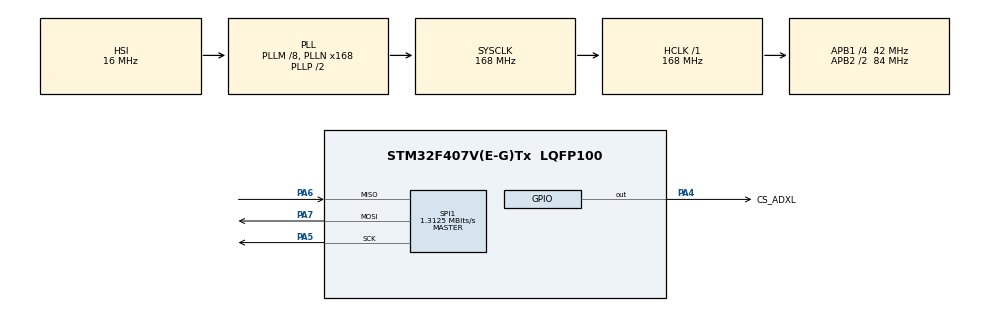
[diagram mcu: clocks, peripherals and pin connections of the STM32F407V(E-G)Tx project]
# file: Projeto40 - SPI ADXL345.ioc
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Mcu.Family=STM32F4
Mcu.Name=STM32F407V(E-G)Tx
Mcu.Package=LQFP100
NVIC.PriorityGroup=NVIC_PRIORITYGROUP_4
PA4.GPIO_Label=CS_ADXL
PA4.PinState=GPIO_PIN_SET
PA4.Signal=GPIO_Output
PA5.Mode=Full_Duplex_Master
PA5.Signal=SPI1_SCK
PA6.Mode=Full_Duplex_Master
PA6.Signal=SPI1_MISO
PA7.Mode=Full_Duplex_Master
PA7.Signal=SPI1_MOSI
PH0-OSC_IN.Mode=HSE-External-Oscillator
PH0-OSC_IN.Signal=RCC_OSC_IN
PH1-OSC_OUT.Mode=HSE-External-Oscillator
PH1-OSC_OUT.Signal=RCC_OSC_OUT
ProjectManager.HeapSize=0x200
ProjectManager.StackSize=0x400
ProjectManager.TargetToolchain=STM32CubeIDE
RCC.48MHZClocksFreq_Value=84000000
RCC.AHBFreq_Value=168000000
RCC.APB1CLKDivider=RCC_HCLK_DIV4
RCC.APB1Freq_Value=42000000
RCC.APB1TimFreq_Value=84000000
RCC.APB2CLKDivider=RCC_HCLK_DIV2
RCC.APB2Freq_Value=84000000
RCC.APB2TimFreq_Value=168000000
RCC.CortexFreq_Value=168000000
RCC.HCLKFreq_Value=168000000
RCC.HSE_VALUE=25000000
RCC.HSI_VALUE=16000000
RCC.LSE_VALUE=32768
RCC.PLLM=8
RCC.PLLN=168
RCC.SYSCLKFreq_VALUE=168000000
RCC.SYSCLKSource=RCC_SYSCLKSOURCE_PLLCLK
RCC.VCOOutputFreq_Value=336000000
SPI1.BaudRatePrescaler=SPI_BAUDRATEPRESCALER_64
SPI1.CLKPhase=SPI_PHASE_2EDGE
SPI1.CLKPolarity=SPI_POLARITY_HIGH
SPI1.CalculateBaudRate=1.3125 MBits/s
SPI1.Direction=SPI_DIRECTION_2LINES
SPI1.Mode=SPI_MODE_MASTER
SPI1.VirtualType=VM_MASTER
board=custom

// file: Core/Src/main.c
/* USER CODE BEGIN Header */
/**
  ******************************************************************************
  * @file           : main.c
  * @brief          : Main program body
  ******************************************************************************
  * @attention
  *
  * Copyright (c) 2023 STMicroelectronics.
  * All rights reserved.
  *
  * This software is licensed under terms that can be found in the LICENSE file
  * in the root directory of this software component.
  * If no LICENSE file comes with this software, it is provided AS-IS.
  *
  ******************************************************************************
  */
/* USER CODE END Header */
#include "main.h"

/* USER CODE BEGIN Includes */

#define DATA_DEVID_REGISTER			0x00
#define DATA_POWER_CTRL_REGISTER	0x2D
#define DATA_FORMAT_REGISTER		0x31
#define DATA_X0_REGISTER			0x32
#define DATA_X1_REGISTER			0x33
#define DATA_Y0_REGISTER			0x34
#define DATA_Y1_REGISTER			0x35
#define DATA_Z0_REGISTER			0x36
#define DATA_Z1_REGISTER			0x37

#define ADXL345_MULTIBYTE			0x40
#define ADXL345_READ_OPERATION		0x80

#define ADXL_CONST_CONVERT								0.0078
#define ADXL_CONVERT_REGISTER_DATA(data_to_convert)		(data_to_convert * ADXL_CONST_CONVERT)

/* USER CODE END Includes */

 SPI_HandleTypeDef hspi1;

/* USER CODE BEGIN PV */

uint32_t loopCont = 0;

static struct
{
	uint8_t device_id;
 	uint8_t data_register[6];

 	struct
 	{
 		int16_t x;
 		int16_t y;
 		int16_t z;

 	} data_readed_register;

 	struct
 	{
 		float x;
 		float y;
 		float z;

 	} data_converted_g;

} adxl_data = {0};

/* USER CODE END PV */

void SystemClock_Config(void);
static void MX_GPIO_Init(void);
static void MX_SPI1_Init(void);
/* USER CODE BEGIN PFP */

void adxl_init(void);
void adxl_write(uint8_t reg, uint8_t data);
void adxl_read(uint8_t reg, uint8_t *data_readed, const size_t data_size);
uint16_t little_endian_2_bytes(uint8_t *data);

/* USER CODE END PFP */

int main(void)
{

  /* MCU Configuration--------------------------------------------------------*/

  /* Reset of all peripherals, Initializes the Flash interface and the Systick. */
  HAL_Init();

  /* Configure the system clock */
  SystemClock_Config();

  /* Initialize all configured peripherals */
  MX_GPIO_Init();
  MX_SPI1_Init();
  /* USER CODE BEGIN 2 */

  adxl_init();

  /* USER CODE END 2 */

  /* Infinite loop */
  while (1)
  {

    /* USER CODE BEGIN 3 */

	  adxl_read(DATA_X0_REGISTER, adxl_data.data_register, sizeof(adxl_data.data_register));

	  adxl_data.data_readed_register.x = little_endian_2_bytes(&adxl_data.data_register[0]);
	  adxl_data.data_readed_register.y = little_endian_2_bytes(&adxl_data.data_register[2]);
	  adxl_data.data_readed_register.z = little_endian_2_bytes(&adxl_data.data_register[4]);

	  adxl_data.data_converted_g.x = ADXL_CONVERT_REGISTER_DATA(adxl_data.data_readed_register.x);
	  adxl_data.data_converted_g.y = ADXL_CONVERT_REGISTER_DATA(adxl_data.data_readed_register.y);
	  adxl_data.data_converted_g.z = ADXL_CONVERT_REGISTER_DATA(adxl_data.data_readed_register.z);

	  loopCont++;
  }
  /* USER CODE END 3 */
}

void SystemClock_Config(void)
{
  RCC_OscInitTypeDef RCC_OscInitStruct = {0};
  RCC_ClkInitTypeDef RCC_ClkInitStruct = {0};

  /** Configure the main internal regulator output voltage
  */
  __HAL_RCC_PWR_CLK_ENABLE();
  __HAL_PWR_VOLTAGESCALING_CONFIG(PWR_REGULATOR_VOLTAGE_SCALE1);

  /** Initializes the RCC Oscillators according to the specified parameters
  * in the RCC_OscInitTypeDef structure.
  */
  RCC_OscInitStruct.OscillatorType = RCC_OSCILLATORTYPE_HSI;
  RCC_OscInitStruct.HSIState = RCC_HSI_ON;
  RCC_OscInitStruct.HSICalibrationValue = RCC_HSICALIBRATION_DEFAULT;
  RCC_OscInitStruct.PLL.PLLState = RCC_PLL_ON;
  RCC_OscInitStruct.PLL.PLLSource = RCC_PLLSOURCE_HSI;
  RCC_OscInitStruct.PLL.PLLM = 8;
  RCC_OscInitStruct.PLL.PLLN = 168;
  RCC_OscInitStruct.PLL.PLLP = RCC_PLLP_DIV2;
  RCC_OscInitStruct.PLL.PLLQ = 4;
  if (HAL_RCC_OscConfig(&RCC_OscInitStruct) != HAL_OK)
  {
    Error_Handler();
  }

  /** Initializes the CPU, AHB and APB buses clocks
  */
  RCC_ClkInitStruct.ClockType = RCC_CLOCKTYPE_HCLK|RCC_CLOCKTYPE_SYSCLK
                              |RCC_CLOCKTYPE_PCLK1|RCC_CLOCKTYPE_PCLK2;
  RCC_ClkInitStruct.SYSCLKSource = RCC_SYSCLKSOURCE_PLLCLK;
  RCC_ClkInitStruct.AHBCLKDivider = RCC_SYSCLK_DIV1;
  RCC_ClkInitStruct.APB1CLKDivider = RCC_HCLK_DIV4;
  RCC_ClkInitStruct.APB2CLKDivider = RCC_HCLK_DIV2;

  if (HAL_RCC_ClockConfig(&RCC_ClkInitStruct, FLASH_LATENCY_5) != HAL_OK)
  {
    Error_Handler();
  }
}

static void MX_SPI1_Init(void)
{

  /* SPI1 parameter configuration*/
  hspi1.Instance = SPI1;
  hspi1.Init.Mode = SPI_MODE_MASTER;
  hspi1.Init.Direction = SPI_DIRECTION_2LINES;
  hspi1.Init.DataSize = SPI_DATASIZE_8BIT;
  hspi1.Init.CLKPolarity = SPI_POLARITY_HIGH;
  hspi1.Init.CLKPhase = SPI_PHASE_2EDGE;
  hspi1.Init.NSS = SPI_NSS_SOFT;
  hspi1.Init.BaudRatePrescaler = SPI_BAUDRATEPRESCALER_64;
  hspi1.Init.FirstBit = SPI_FIRSTBIT_MSB;
  hspi1.Init.TIMode = SPI_TIMODE_DISABLE;
  hspi1.Init.CRCCalculation = SPI_CRCCALCULATION_DISABLE;
  hspi1.Init.CRCPolynomial = 10;
  if (HAL_SPI_Init(&hspi1) != HAL_OK)
  {
    Error_Handler();
  }

}

static void MX_GPIO_Init(void)
{
  GPIO_InitTypeDef GPIO_InitStruct = {0};

  /* GPIO Ports Clock Enable */
  __HAL_RCC_GPIOH_CLK_ENABLE();
  __HAL_RCC_GPIOA_CLK_ENABLE();

  /*Configure GPIO pin Output Level */
  HAL_GPIO_WritePin(CS_ADXL_GPIO_Port, CS_ADXL_Pin, GPIO_PIN_SET);

  /*Configure GPIO pin : CS_ADXL_Pin */
  GPIO_InitStruct.Pin = CS_ADXL_Pin;
  GPIO_InitStruct.Mode = GPIO_MODE_OUTPUT_PP;
  GPIO_InitStruct.Pull = GPIO_NOPULL;
  GPIO_InitStruct.Speed = GPIO_SPEED_FREQ_LOW;
  HAL_GPIO_Init(CS_ADXL_GPIO_Port, &GPIO_InitStruct);

}

/* USER CODE BEGIN 4 */

/**
 * Inicializa o ADXL345
 */
void adxl_init(void)
{
	adxl_write (DATA_FORMAT_REGISTER, 0x01);
	adxl_write (DATA_POWER_CTRL_REGISTER, 0x00);
	adxl_write (DATA_POWER_CTRL_REGISTER, 0x08);

	adxl_read(DATA_DEVID_REGISTER, &adxl_data.device_id, sizeof(adxl_data.device_id));
}

/**
 * Escreve dados no ADXL345 dado o registrador
 */
void adxl_write(uint8_t reg, uint8_t data)
{
	uint8_t data_write[2] = {(reg | ADXL345_MULTIBYTE), data};

	HAL_GPIO_WritePin(CS_ADXL_GPIO_Port, CS_ADXL_Pin, GPIO_PIN_RESET);

	if (HAL_SPI_Transmit(&hspi1, data_write, sizeof(data_write), 100) != HAL_OK)
		Error_Handler();

	HAL_GPIO_WritePin(CS_ADXL_GPIO_Port, CS_ADXL_Pin, GPIO_PIN_SET);
}

/**
 * Lê dados no ADXL345 dado o registrador
 */
void adxl_read(uint8_t reg, uint8_t *data_readed, const size_t data_size)
{
	reg = ((reg | ADXL345_READ_OPERATION) | ADXL345_MULTIBYTE);

	HAL_GPIO_WritePin(CS_ADXL_GPIO_Port, CS_ADXL_Pin, GPIO_PIN_RESET);

	if (HAL_SPI_Transmit(&hspi1, &reg, sizeof(reg), 100) != HAL_OK)
			Error_Handler();

	if (HAL_SPI_Receive(&hspi1, data_readed, data_size, 100) != HAL_OK)
			Error_Handler();

	HAL_GPIO_WritePin(CS_ADXL_GPIO_Port, CS_ADXL_Pin, GPIO_PIN_SET);
}

/**
 * Converte um dado little endian de 2 bytes
 */
uint16_t little_endian_2_bytes(uint8_t *data)
{
	return ((data[1]<<8) | data[0]);
}

/* USER CODE END 4 */

void Error_Handler(void)
{
  __disable_irq();
  while (1)
  {
  }
}
